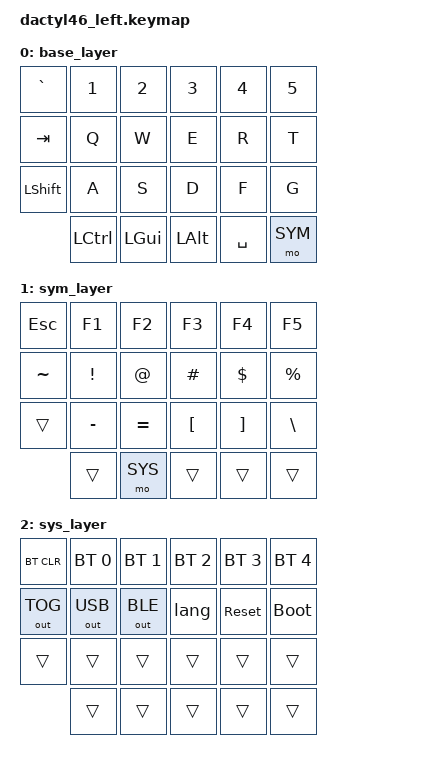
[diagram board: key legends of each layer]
#include <behaviors.dtsi>
#include <dt-bindings/zmk/keys.h>
#include <dt-bindings/zmk/bt.h>
#include <dt-bindings/zmk/outputs.h>

#define BASE 0
#define SYM  1
#define SYS  2

/ {
    behaviors {
        /* Макрос: одновременное LShift+LAlt (переключение языка в Windows) */
        lang: lang_switch {
            compatible = "zmk,behavior-macro";
            #binding-cells = <0>;
            bindings
                = <&macro_press   &kp LSHIFT>
                , <&macro_press   &kp LALT>
                , <&macro_pause_for_release>
                , <&macro_release &kp LALT>
                , <&macro_release &kp LSHIFT>
                ;
        };
    };

    keymap {
        compatible = "zmk,keymap";

        /* BASE — QWERTY, левая половина */
        base_layer {
            bindings = <
&kp GRAVE  &kp N1     &kp N2     &kp N3     &kp N4     &kp N5
&kp TAB    &kp Q      &kp W      &kp E      &kp R      &kp T
&kp LSHFT  &kp A      &kp S      &kp D      &kp F      &kp G
           &kp LCTRL  &kp LGUI   &kp LALT   &kp SPACE  &mo SYM
            >;
        };

        /* SYM — символы и F1..F5 */
        sym_layer {
            bindings = <
&kp ESC    &kp F1     &kp F2     &kp F3     &kp F4     &kp F5
&kp TILDE  &kp EXCL   &kp AT     &kp HASH   &kp DLLR   &kp PRCNT
&trans     &kp MINUS  &kp EQUAL  &kp LBKT   &kp RBKT   &kp BSLH
           &trans     &mo SYS    &trans     &trans     &trans
            >;
        };

        /* SYS — Bluetooth, USB/BLE, lang, reset, bootloader */
        sys_layer {
            bindings = <
&bt BT_CLR    &bt BT_SEL 0  &bt BT_SEL 1  &bt BT_SEL 2  &bt BT_SEL 3  &bt BT_SEL 4
&out OUT_TOG  &out OUT_USB  &out OUT_BLE  &lang         &sys_reset    &bootloader
&trans        &trans        &trans        &trans        &trans        &trans
              &trans        &trans        &trans        &trans        &trans
            >;
        };
    };
};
